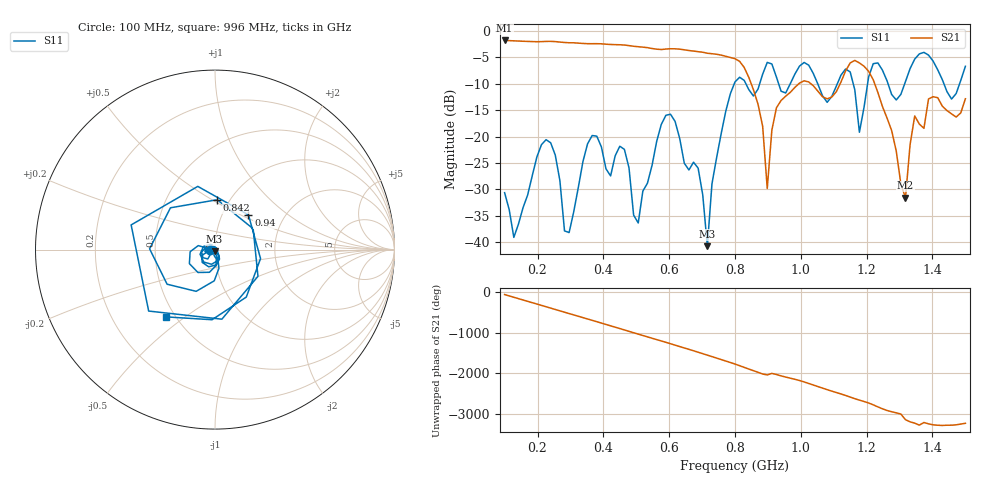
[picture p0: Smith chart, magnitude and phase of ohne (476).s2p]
! NanoVNA-App
! Date: 2025-09-25 14:24:30
! Start: 100MHz Stop: 1,5GHz Points: 101
! S-Parameter data: F S11 S21 S12 S22
# Hz S RI R 50
!  Frequency  S11_Real  S11_Imag  S21_Real  S21_Imag  S12_Real  S12_Imag  S22_Real  S22_Imag
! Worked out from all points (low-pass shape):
!   101 points, 100 MHz to 1.5 GHz, reference 50 ohm
!   highest |S21| = -1.79 dB at 100 MHz (marker M1); lowest = -31.6 dB at 1.318 GHz (marker M2)
!   |S21| within 3 dB of the highest: start of sweep to 771.8 MHz
!   lowest |S11| = -40.8 dB at 716 MHz (marker M3), VSWR 1.02, Z = 49.7 - j0.871 ohm
!   |S11| at or under -10 dB: start of sweep to 797.8 MHz; 833.1 MHz to 875 MHz (41.87 MHz wide, 4.9 % of centre); 1.051 GHz to 1.111 GHz (59.53 MHz wide, 5.51 % of centre) (the widest 3 of 7)
!   S12 and S22 are empty: the file has one direction only
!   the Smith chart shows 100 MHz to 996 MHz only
!   S11 on the Smith chart (normalised r, x): 100 MHz: 0.94, -0.01; 842 MHz: 0.88, +0.53; 940 MHz: 1.33, +0.55; 996 MHz: 0.44, -0.42
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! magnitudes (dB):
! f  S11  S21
! 100 MHz  -30.6  -1.8
! 128 MHz  -39.1  -1.9
! 226 MHz  -20.6  -2.0
! 296 MHz  -38.2  -2.2
! 338 MHz  -24.7  -2.4
! 464 MHz  -22.4  -2.7
! 506 MHz  -36.4  -3.0
! 576 MHz  -17.7  -3.5
! 688 MHz  -26.0  -3.9
! 716 MHz  -40.8  -4.2
! 800 MHz  -9.7  -5.2
! 842 MHz  -11.1  -8.8
! 898 MHz  -6.0  -29.8
! 940 MHz  -11.4  -13.2
! 996 MHz  -6.6  -9.9
! 1.038 GHz  -8.1  -10.4
! 1.178 GHz  -19.2  -6.1
! 1.22 GHz  -6.2  -9.2
! 1.276 GHz  -12.0  -18.9
! 1.318 GHz  -9.6  -31.6
! 1.346 GHz  -5.3  -16.1
! 1.5 GHz  -6.7  -12.8
